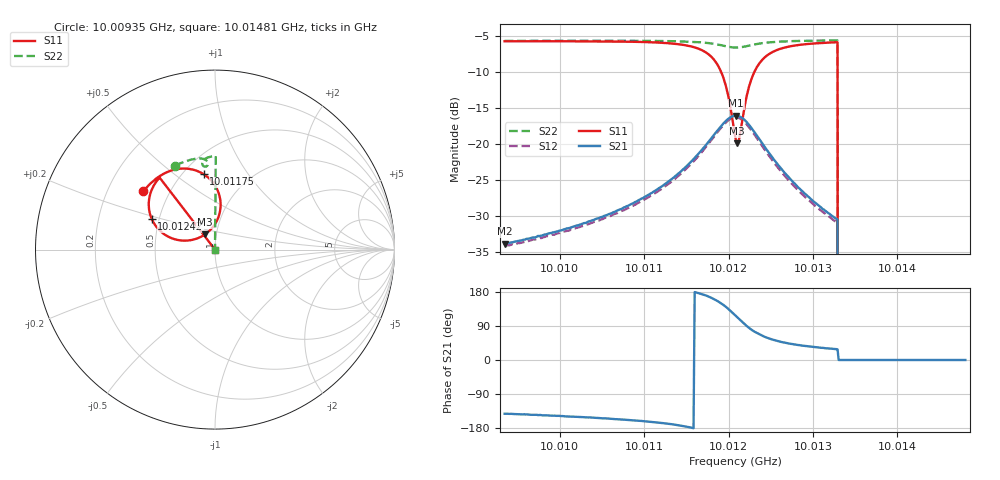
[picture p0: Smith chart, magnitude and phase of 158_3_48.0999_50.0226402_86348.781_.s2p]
#  HZ  S  RI  R  50.00
! Rohde & Schwarz Vector Network Analyzer
! Rohde-Schwarz,ZNB20-2Port,1311601062101988,3.16
! Created: UTC 12/23/2023, 3:50:29 AM
! freq[Hz]  re:S11  im:S11  re:S21  im:S21  re:S12  im:S12  re:S22  im:S22
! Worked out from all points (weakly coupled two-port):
!   401 points, 10.00935 GHz to 10.01481 GHz, reference 50 ohm
!   highest |S21| = -16.07 dB at 10.01209 GHz (marker M1); lowest = -33.8 dB at 10.00935 GHz (marker M2)
!   lowest |S11| = -19.9 dB at 10.0121 GHz (marker M3), VSWR 1.23, Z = 44.1 + j7.54 ohm
!   |S11| at or under -10 dB: 10.01191 GHz to 10.01231 GHz (395.1 kHz wide, 0.00395 % of centre); 10.01329 GHz to end of sweep
!   |S22| runs from - to -5.7 dB; largest |S21 - S12| = 0.0081
!   S11 on the Smith chart (normalised r, x): 10.00935 GHz: 0.36, +0.32; 10.01175 GHz: 0.63, +0.64; 10.01242 GHz: 0.45, +0.18; 10.01481 GHz: 1.00, +0.00
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1.0009345e10  -0.3985 0.3253  -0.016 -0.0126  -0.0147 -0.013  -0.2207 0.4683
1.001026e10  -0.3437 0.3826  -0.0245 -0.0136  -0.023 -0.0142  -0.1644 0.4919
1.0010779e10  -0.2979 0.4156  -0.034 -0.0139  -0.032 -0.015  -0.1297 0.5019
1.0011175e10  -0.2439 0.4404  -0.048 -0.0125  -0.0454 -0.0144  -0.1008 0.507
1.0011502e10  -0.1663 0.4516  -0.0702 -0.00486  -0.0675 -0.00817  -0.0735 0.5068
1.0011748e10  -0.062 0.4194  -0.0994 0.0197  -0.097 0.0142  -0.0504 0.4983
1.0011857e10  -0.00339 0.3627  -0.1122 0.0476  -0.1115 0.0407  -0.0417 0.4884
1.0011939e10  0.0282 0.285  -0.1142 0.0793  -0.1148 0.0721  -0.0392 0.4778
1.0011994e10  0.0285 0.2163  -0.1062 0.1049  -0.1079 0.0978  -0.0413 0.4701
1.0012076e10  -0.0243 0.1114  -0.0744 0.1384  -0.0782 0.1317  -0.051 0.4625
1.0012089e10  -0.0394 0.0974  -0.0673 0.1421  -0.0707 0.1358  -0.0531 0.462
1.0012103e10  -0.0559 0.0846  -0.0599 0.145  -0.0635 0.1389  -0.0552 0.4619
1.001213e10  -0.092 0.065  -0.0449 0.1484  -0.0479 0.1428  -0.0595 0.4628
1.0012212e10  -0.2056 0.0533  -0.000312 0.1423  -0.00526 0.1373  -0.0688 0.4706
1.0012267e10  -0.2672 0.0758  0.0212 0.1284  0.016 0.1241  -0.0711 0.4782
1.0012417e10  -0.353 0.1719  0.0455 0.0864  0.0406 0.0841  -0.0654 0.4964
1.0012663e10  -0.3659 0.287  0.0442 0.0454  0.0402 0.0451  -0.0448 0.5114
1.001299e10  -0.3375 0.3631  0.0336 0.0233  0.0308 0.0238  -0.018 0.5187
1.0013263e10  -0.3113 0.3987  0.0268 0.015  0.0248 0.0155  0.00233 0.5211
1.0013331e10  0 0  0 0  0 0  0 0
1.0013905e10  0 0  0 0  0 0  0 0
1.0014806e10  0 0  0 0  0 0  0 0
